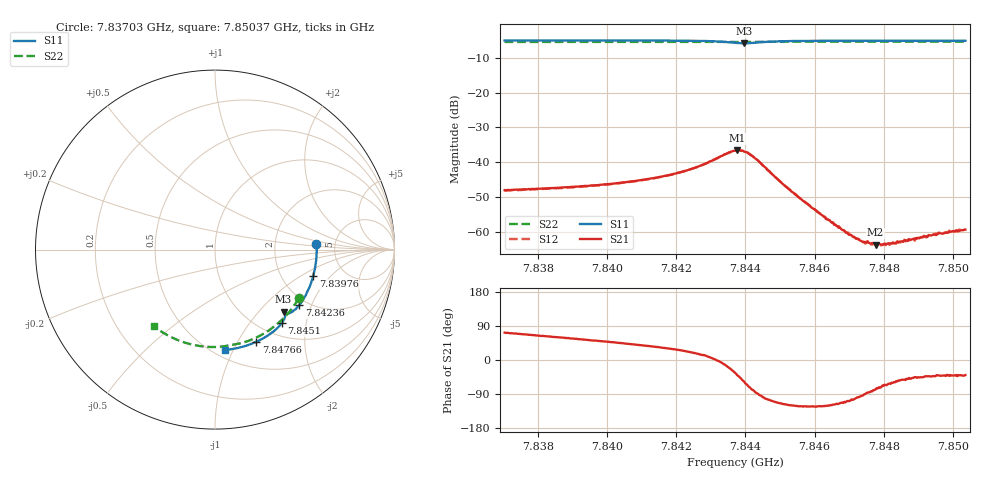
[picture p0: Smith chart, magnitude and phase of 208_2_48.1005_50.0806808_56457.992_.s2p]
#  HZ  S  RI  R  50.00
! Rohde & Schwarz Vector Network Analyzer
! Rohde-Schwarz,ZNB20-2Port,1311601062101988,3.16
! Created: UTC 12/23/2023, 3:55:28 AM
! freq[Hz]  re:S11  im:S11  re:S21  im:S21  re:S12  im:S12  re:S22  im:S22
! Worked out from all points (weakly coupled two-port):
!   401 points, 7.83703 GHz to 7.85037 GHz, reference 50 ohm
!   highest |S21| = -36.59 dB at 7.84376 GHz (marker M1); lowest = -63.8 dB at 7.84776 GHz (marker M2)
!   lowest |S11| = -5.7 dB at 7.84396 GHz (marker M3), VSWR 3.13, Z = 73.1 - j69.1 ohm
!   |S11| at or under -10 dB: nowhere
!   |S22| runs from -5.4 to -5.3 dB; largest |S21 - S12| = 0.00038
!   S11 on the Smith chart (normalised r, x): 7.83703 GHz: 3.57, +0.36; 7.83976 GHz: 3.00, -1.30; 7.84236 GHz: 1.81, -1.64; 7.8451 GHz: 1.24, -1.46; 7.84766 GHz: 0.80, -1.20; 7.85037 GHz: 0.57, -0.93
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7.837031e9  0.5651 0.034  0.00121 0.00376  0.00127 0.0037  0.4661 -0.272
7.839265e9  0.5553 -0.1143  0.00263 0.00366  0.00258 0.00359  0.3695 -0.3944
7.839765e9  0.5476 -0.1468  0.00301 0.0036  0.00295 0.00353  0.3433 -0.4178
7.841498e9  0.504 -0.2568  0.00506 0.00337  0.00503 0.00338  0.2416 -0.4842
7.842365e9  0.4697 -0.3092  0.00724 0.00285  0.00716 0.00283  0.1856 -0.5084
7.843198e9  0.4207 -0.3516  0.0114 -0.000358  0.0114 -0.000266  0.1293 -0.5247
7.843698e9  0.3856 -0.3539  0.0121 -0.00805  0.0122 -0.00809  0.096 -0.5304
7.843765e9  0.3831 -0.3519  0.0113 -0.0096  0.0113 -0.00959  0.0916 -0.5313
7.843965e9  0.3822 -0.3466  0.00763 -0.012  0.00774 -0.0121  0.079 -0.5332
7.844298e9  0.3904 -0.3548  0.000776 -0.0111  0.00092 -0.0112  0.0574 -0.5373
7.845098e9  0.3734 -0.4078  -0.00212 -0.00428  -0.00212 -0.00432  0.00171 -0.5427
7.845932e9  0.3319 -0.4509  -0.00117 -0.00185  -0.00119 -0.00189  -0.0572 -0.5405
7.846598e9  0.2946 -0.4785  -0.000563 -0.00111  -0.000596 -0.0011  -0.1036 -0.5341
7.847032e9  0.2693 -0.4937  -0.000268 -0.000851  -0.00029 -0.000878  -0.1335 -0.5277
7.847365e9  0.2493 -0.5044  -5.77e-05 -0.000725  -6.34e-05 -0.000741  -0.1561 -0.5218
7.847665e9  0.2311 -0.5133  8.38e-05 -0.000679  8.74e-05 -0.00064  -0.1761 -0.5154
7.847765e9  0.2247 -0.5159  0.00014 -0.00063  0.000143 -0.000636  -0.1829 -0.5132
7.848165e9  0.1999 -0.5263  0.000313 -0.000595  0.000287 -0.000575  -0.2091 -0.5033
7.848265e9  0.1938 -0.5286  0.000339 -0.000595  0.000324 -0.000589  -0.2156 -0.5006
7.848432e9  0.1832 -0.5322  0.000415 -0.000566  0.00039 -0.000574  -0.2263 -0.496
7.849532e9  0.1124 -0.5513  0.000684 -0.000573  0.000706 -0.000618  -0.2942 -0.4597
7.850365e9  0.0576 -0.5594  0.000817 -0.000681  0.000808 -0.000679  -0.342 -0.4259
